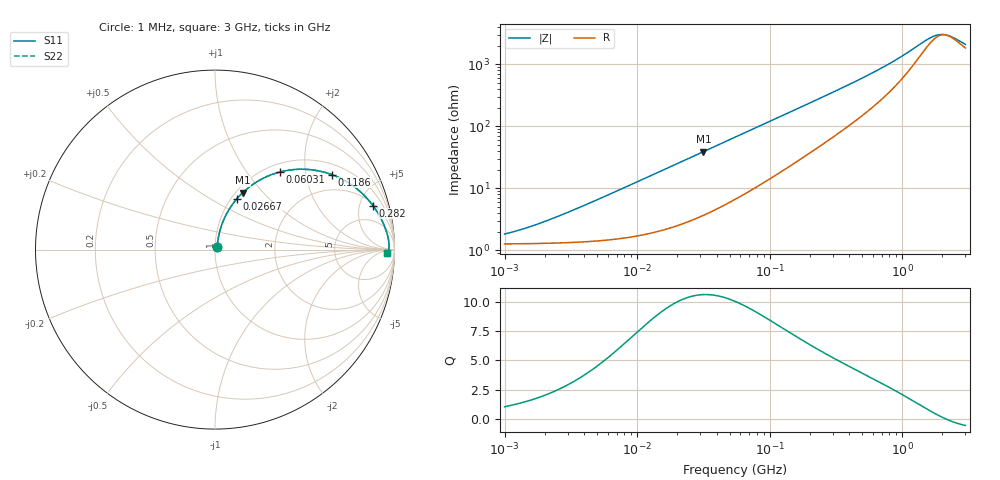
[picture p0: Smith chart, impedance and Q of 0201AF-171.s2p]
# MHz  S  MA  R  50
!Freq  MagS11  AngS11  MagS21  AngS21  MagS12  AngS12  MagS22  AngS22
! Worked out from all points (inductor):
!   806 points, 1 MHz to 3 GHz, reference 50 ohm
!   read as one part in series: L = 204 nH near 3.109 MHz
!   highest Q = 10.6 at 31.59 MHz (marker M1), where L = 196 nH
!   self-resonance near 2.137 GHz
!   S11 on the Smith chart (normalised r, x): 1 MHz: 1.03, +0.03; 26.67 MHz: 1.06, +0.66; 60.31 MHz: 1.15, +1.46; 118.6 MHz: 1.36, +2.82; 282 MHz: 2.22, +6.57; 3 GHz: 38, -20
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1  0.01804 45.4  0.9874 -0.7  0.9874 -0.7  0.01804 45.4
1.780901  0.0262 59.7  0.987 -1.3  0.987 -1.3  0.0262 59.7
3.831647  0.05033 71.8  0.9854 -2.8  0.9854 -2.8  0.05033 71.8
7.843761  0.09855 75.5  0.9799 -5.6  0.9799 -5.6  0.09855 75.5
14.53616  0.1765 73.5  0.965 -10.1  0.965 -10.1  0.1765 73.5
26.67186  0.3054 66.9  0.9238 -17.7  0.9238 -17.7  0.3054 66.9
31.58761  0.3523 64.1  0.9034 -20.5  0.9034 -20.5  0.3523 64.1
41.73642  0.4391 58.6  0.8577 -25.9  0.8577 -25.9  0.4391 58.6
55.14595  0.5339 52.2  0.7943 -32.1  0.7943 -32.1  0.5339 52.2
60.31231  0.5649 50.0  0.77 -34.2  0.77 -34.2  0.5649 50.0
83.75511  0.6747 41.5  0.6671 -42.1  0.6671 -42.1  0.6747 41.5
118.6477  0.7737 32.7  0.5441 -50.1  0.5441 -50.1  0.7737 32.7
158.3358  0.8364 26.0  0.4431 -55.9  0.4431 -55.9  0.8364 26.0
209.2077  0.8806 20.5  0.3545 -60.4  0.3545 -60.4  0.8806 20.5
281.9804  0.9135 15.6  0.2732 -63.9  0.2732 -63.9  0.9135 15.6
497.207  0.9491 8.8  0.1583 -66.9  0.1583 -66.9  0.9491 8.8
793.6734  0.9634 5.1  0.09463 -64.7  0.09463 -64.7  0.9634 5.1
1545.873  0.9702 1.4  0.03842 -38.3  0.03842 -38.3  0.9702 1.4
1830.784  0.9694 0.6  0.03255 -19.7  0.03255 -19.7  0.9694 0.6
2002.302  0.9686 0.3  0.03178 -8.2  0.03178 -8.2  0.9686 0.3
2211.787  0.9672 -0.1  0.03291 4.1  0.03291 4.1  0.9672 -0.1
3000  0.9599 -1.3  0.04557 27.8  0.04557 27.8  0.9599 -1.3
